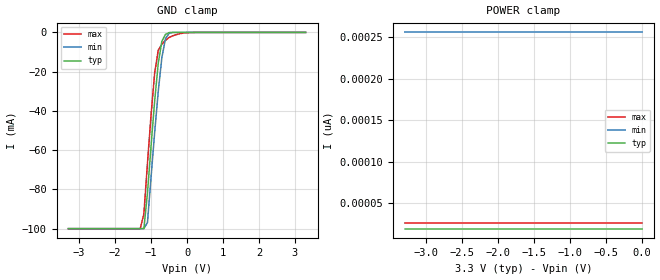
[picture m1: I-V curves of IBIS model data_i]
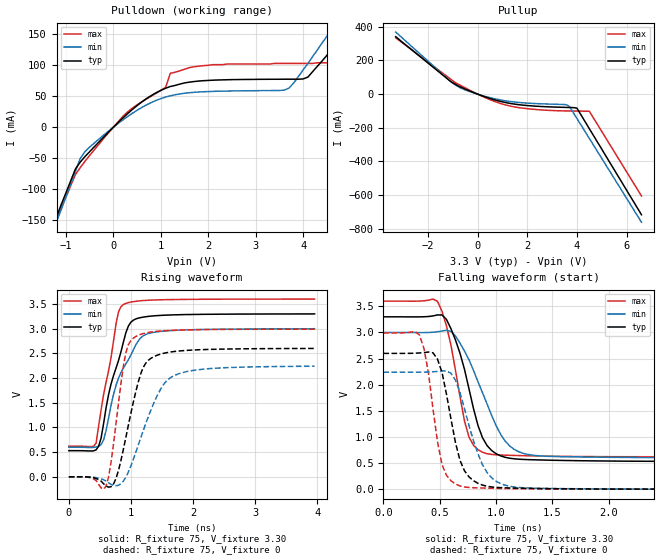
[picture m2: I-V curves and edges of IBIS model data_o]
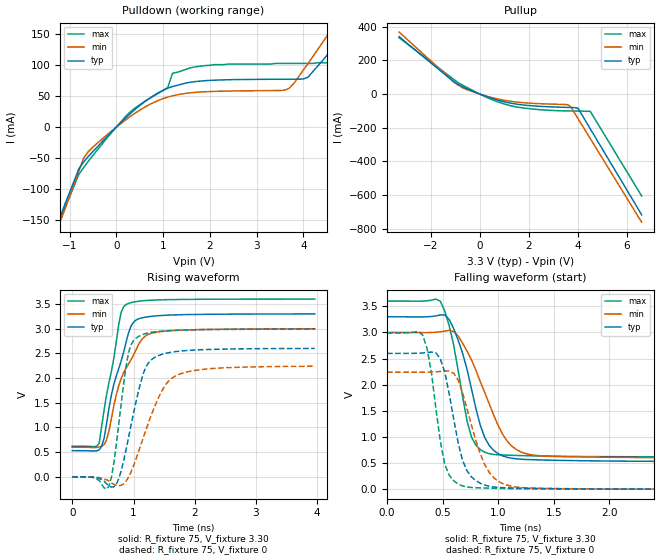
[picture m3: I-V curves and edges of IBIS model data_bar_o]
|   ON Semiconductor Corporation
|   IBIS Model of MC74LCX74m
|   Dual D Flip-Flop with Set and Reset
|   EIAJ-14 (m) Package Type
[IBIS Ver]   3.2
[Comment Char]   |_char
[File name]   mc74lcx74m_c300.ibs
[File Rev]   1.0
[Date]   05/24/04
[Source]
From lab measurements at ON Semiconductor
[Notes]
Created by Duane Mattheisen
Modeling Support Engineer
| This model represents the MC74LCX74m where 3.00 <= Vcc =< 3.60
[Disclaimer]
ON Semiconductor Corporation hereby grants
the user of this IBIS model a license to use this IBIS
model under the following terms. This license in non-exclusive
and non-transferable. Before using this IBIS model. After reading
the terms and conditions of this license, the user either must accept
these terms, or the IBIS model should be returned to ON within 30 days.
     The user is hereby granted a license to use the
IBIS model. This shall not be construed as a right to sell, or otherwise
profit either by leasing or renting this software.
     The user may modify the IBIS model to suit his specific applications
but rights to derivative works and such modifications shall belong to
ON Semiconductor.
     This IBIS model is provided on an "as is" basis. ON Semiconductor
makes absolutely no warranty with respect to the information contained
herein. By use of this IBIS model, the user assumes full risk as to the
quality and suitability of the model to his particular use, and by using
this model assumes the entire risk. Under all circumstances the user shall
not hold ON Semiconductor liable in any way for the results obtained. ON
Semiconductor reserves the right to make to improve the model for reliability,
function, or design. ON Semiconductor does not convey any license under patent
rights or any other intellectual property rights, including those of third
parties.
ON Semiconductor is not obligated to provide maintenance or support
for the licensed IBIS model.
Cont ON at ATTN:LOGIC APPLICATIONS/IBIS MODEL.
5005 E. McDowell Road, Phoenix AZ 85008
[Copyright]
(c) 2002 ON Semiconductor Corp.
[Component]   MC74LCX74m
Si_location Pin
Timing_location Pin
[Manufacturer]   ON Semiconductor Corp.
[Package]
|   Typ   Min   Max
R_pkg   0.048   0.044   0.052
L_pkg   2.35nH   1.80nH   3.30nH
C_pkg   0.45pF   0.43pF   0.47pF
[Pin] signal_name   model_name   R_pin   L_pin   C_pin
1   BarRD1   cntrl_i   .044   3.20nH   .47pF
2   D1   data_i   .049   2.12nH   .45pF
3   CP1   cntrl_i   .045   2.00nH   .46pF
4   BarSD1   cntrl_i   .045   1.90nH   .45pF
5   Q1   data_o   .045   2.00nH   .43pF
6   BarQ1   data_bar_o   .051   2.25nH   .45pF
7   GND   GND   .048   3.20nH   .47pF
8   BarQ2   data_bar_o   .049   3.30nH   .43pF
9   Q2   data_o   .051   2.20nH   .45pF
10   BarSD2   cntrl_i   .052   1.90nH   .45pF
11   CP2   cntrl_i   .048   1.80nH   .47pF
12   D2   data_i   .046   1.93nH   .46pF
13   BarRD2   cntrl_i   .047   2.25nH   .45pF
14   VCC   POWER   .050   3.18nH   .47pF
| Models and submodels in the file (4): data_i (Input), data_o (Output), cntrl_i (Input), data_bar_o (Output)
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[Model]   data_i
Model_type Input
Vinh=2.0
Vinl=0.8
| variable   typ   min   max
C_comp   7.0pf   7.0pf   7.0pf
[Temperature Range] 25   85   -40
[Voltage Range]   3.30   3.00   3.60
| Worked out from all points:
|   GND clamp passes 1 mA (typ) near -0.60 V on its own axis
[GND Clamp]
-3.3V     -100mA     -100mA     -100mA
-1.3V     -100mA     -100mA     -100mA
-1.2V     -100mA     -100mA     -92.47mA
-1.1V     -81.88mA   -96.84mA   -66.67mA
-1V       -57.81mA   -73.69mA   -42.12mA
-900mV    -34.96mA   -51.04mA   -20.74mA
-800mV    -15.7mA    -30.07mA   -9.115mA
-700mV    -4.517mA   -12.9mA    -6.003mA
-600mV    -1.043mA   -3.252mA   -4.051mA
-500mV    -107.1uA   -506.6uA   -2.593mA
0V        -40.02pA   22.16pA    -199.8uA
3.3V      -40.02pA   22.16pA    35.35pA
[POWER Clamp]
-3.3V     19.27pA    255.8pA    26pA
-3.2V     19.27pA    255.8pA    26pA
-3.1V     19.27pA    255.8pA    26pA
0V        19.27pA    255.8pA    26pA
[Model]   data_o
Model_type Output
Polarity Non-Inverting
Vref=0
Vmeas=1.50
Cref=50p
Rref=500
| variable   typ   min   max
C_comp   8.0pf   8.0pf   8.0pf
[Temperature Range] 25   85   -40
[Voltage Range]   3.30   3.00   3.60
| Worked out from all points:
|   slope of the pulldown table from 0 to 0.495 V, typ, clamps not added: 14.3 ohm
|   slope of the pullup table from 0 to 0.495 V, typ, clamps not added: 19.3 ohm
|   falling waveform, R_fixture 75, V_fixture 3.30: 20-80 % time 206ps typ, 284ps min, 158ps max; typ from 3.3 V to 0.53 V
|   falling waveform, R_fixture 75, V_fixture 0: 20-80 % time 151ps typ, 198ps min, 123ps max; typ from 2.6 V to 0 V
|   rising waveform, R_fixture 75, V_fixture 3.30: 20-80 % time 322ps typ, 398ps min, 246ps max; typ from 0.53 V to 3.3 V
|   rising waveform, R_fixture 75, V_fixture 0: 20-80 % time 284ps typ, 422ps min, 188ps max; typ from 0 V to 2.6 V
[Pullup]
-3.3V     342mA      369mA      335mA
-1.1V     76.7mA     77.1mA     90.7mA
-900mV    59mA       54.7mA     68.5mA
-600mV    36.4mA     30.7mA     45mA
500mV     -25.9mA    -20.9mA    -33.2mA
1.3V      -55.1mA    -43.8mA    -70.5mA
2.2V      -70.3mA    -55.3mA    -89.6mA
3.5V      -78.8mA    -62mA      -100mA
3.7V      -79.6mA    -73.7mA    -100mA
4V        -83.6mA    -145mA     -101mA
4.5V      -206mA     -264mA     -102mA
6.6V      -718mA     -762mA     -606mA
[Pulldown]
-3.3V     -550mA     -584mA     -530mA
-1.3V     -164mA     -174mA     -167mA
-800mV    -67.3mA    -71.1mA    -76.4mA
-600mV    -47.6mA    -39.7mA    -55.3mA
300mV     21.9mA     17.3mA     24.7mA
1.1V      62.9mA     48.6mA     64.1mA
1.2V      65.7mA     50.6mA     87mA
3.6V      77.5mA     59.8mA     103mA
4.1V      80.9mA     103mA      103mA
4.7V      133mA      168mA      113mA
5.3V      186mA      233mA      169mA
6.6V      300mA      373mA      290mA
[Ramp]
dV/dt_r  1.56/2.80E-10   1.34/4.40E-10   1.79/2.00E-10
dV/dt_f  1.66/2.00E-10   1.44/2.80E-10   1.79/1.60E-10
[Falling Waveform]
R_fixture=75
C_fixture=0p
V_fixture=3.30
V_fixture_min=3.00
V_fixture_max=3.60
|Time   Typ   Min   Max
|SECONDS   VOLTS   VOLTS   VOLTS
0s        3.3V       3V         3.6V
480ps     3.336V     3.013V     3.597V
600ps     3.071V     3.019V     2.755V
720ps     2.293V     2.644V     1.304V
760ps     1.919V     2.477V     996.9mV
880ps     983.9mV    1.845V     706.6mV
960ps     741.7mV    1.417V     665.1mV
1.08ns    610.2mV    923.5mV    650.9mV
1.28ns    566mV      665.7mV    639.4mV
3.96ns    530mV      600mV      620mV
[Falling Waveform]
R_fixture=75
C_fixture=0p
V_fixture=0
|Time   Typ   Min   Max
|SECONDS   VOLTS   VOLTS   VOLTS
0s        2.6V       2.24V      2.99V
320ps     2.608V     2.24V      2.953V
400ps     2.626V     2.244V     2.224V
480ps     2.491V     2.254V     910.6mV
520ps     2.237V     2.263V     471.8mV
600ps     1.342V     2.219V     160.8mV
680ps     550.9mV    1.848V     61.22mV
880ps     77.81mV    466.9mV    22.31mV
1.08ns    25.43mV    76.41mV    12.25mV
3.96ns    0V         0V         0V
[Rising Waveform]
R_fixture=75
C_fixture=0p
V_fixture=3.30
V_fixture_min=3.00
V_fixture_max=3.60
|Time   Typ   Min   Max
|SECONDS   VOLTS   VOLTS   VOLTS
0s        530mV      600mV      620mV
440ps     547.2mV    604.8mV    682.8mV
560ps     1.076V     747.7mV    1.662V
640ps     1.662V     1.188V     2.143V
760ps     2.198V     1.848V     3.096V
880ps     2.731V     2.205V     3.49V
1ns       3.131V     2.466V     3.539V
1.16ns    3.225V     2.816V     3.566V
1.32ns    3.254V     2.914V     3.578V
3.96ns    3.3V       3V         3.6V
[Rising Waveform]
R_fixture=75
C_fixture=0p
V_fixture=0
|Time   Typ   Min   Max
|SECONDS   VOLTS   VOLTS   VOLTS
0s        0V         0V         0V
600ps     -185.9mV   -85.37mV   -186.6mV
680ps     -201mV     -153.3mV   289.7mV
760ps     -34.08mV   -179.4mV   1.078V
920ps     803.6mV    -4.451mV   2.521V
1.08ns    1.729V     500.2mV    2.842V
1.28ns    2.358V     1.216V     2.924V
1.52ns    2.499V     1.858V     2.957V
1.72ns    2.541V     2.063V     2.969V
3.96ns    2.6V       2.24V      2.99V
[Model]   data_bar_o
Model_type Output
Polarity Inverting
Vref=0
Vmeas=1.50
Cref=50p
Rref=500
| variable   typ   min   max
C_comp   8.0pf   8.0pf   8.0pf
[Temperature Range] 25   85   -40
[Voltage Range]   3.30   3.00   3.60
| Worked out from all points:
|   slope of the pulldown table from 0 to 0.495 V, typ, clamps not added: 14.3 ohm
|   slope of the pullup table from 0 to 0.495 V, typ, clamps not added: 19.3 ohm
|   falling waveform, R_fixture 75, V_fixture 3.30: 20-80 % time 206ps typ, 284ps min, 158ps max; typ from 3.3 V to 0.53 V
|   falling waveform, R_fixture 75, V_fixture 0: 20-80 % time 151ps typ, 198ps min, 123ps max; typ from 2.6 V to 0 V
|   rising waveform, R_fixture 75, V_fixture 3.30: 20-80 % time 322ps typ, 398ps min, 246ps max; typ from 0.53 V to 3.3 V
|   rising waveform, R_fixture 75, V_fixture 0: 20-80 % time 284ps typ, 422ps min, 188ps max; typ from 0 V to 2.6 V
[Pullup]
-3.3V     342mA      369mA      335mA
-1.1V     76.7mA     77.1mA     90.7mA
-900mV    59mA       54.7mA     68.5mA
-600mV    36.4mA     30.7mA     45mA
500mV     -25.9mA    -20.9mA    -33.2mA
1.3V      -55.1mA    -43.8mA    -70.5mA
2.2V      -70.3mA    -55.3mA    -89.6mA
3.5V      -78.8mA    -62mA      -100mA
3.7V      -79.6mA    -73.7mA    -100mA
4V        -83.6mA    -145mA     -101mA
4.5V      -206mA     -264mA     -102mA
6.6V      -718mA     -762mA     -606mA
[Pulldown]
-3.3V     -550mA     -584mA     -530mA
-1.3V     -164mA     -174mA     -167mA
-800mV    -67.3mA    -71.1mA    -76.4mA
-600mV    -47.6mA    -39.7mA    -55.3mA
300mV     21.9mA     17.3mA     24.7mA
1.1V      62.9mA     48.6mA     64.1mA
1.2V      65.7mA     50.6mA     87mA
3.6V      77.5mA     59.8mA     103mA
4.1V      80.9mA     103mA      103mA
4.7V      133mA      168mA      113mA
5.3V      186mA      233mA      169mA
6.6V      300mA      373mA      290mA
[Ramp]
dV/dt_r  1.56/2.80E-10   1.34/4.40E-10   1.79/2.00E-10
dV/dt_f  1.66/2.00E-10   1.44/2.80E-10   1.79/1.60E-10
[Falling Waveform]
R_fixture=75
C_fixture=0p
V_fixture=3.30
V_fixture_min=3.00
V_fixture_max=3.60
|Time   Typ   Min   Max
|SECONDS   VOLTS   VOLTS   VOLTS
0s        3.3V       3V         3.6V
480ps     3.336V     3.013V     3.597V
600ps     3.071V     3.019V     2.755V
720ps     2.293V     2.644V     1.304V
760ps     1.919V     2.477V     996.9mV
880ps     983.9mV    1.845V     706.6mV
960ps     741.7mV    1.417V     665.1mV
1.08ns    610.2mV    923.5mV    650.9mV
1.28ns    566mV      665.7mV    639.4mV
3.96ns    530mV      600mV      620mV
[Falling Waveform]
R_fixture=75
C_fixture=0p
V_fixture=0
|Time   Typ   Min   Max
|SECONDS   VOLTS   VOLTS   VOLTS
0s        2.6V       2.24V      2.99V
320ps     2.608V     2.24V      2.953V
400ps     2.626V     2.244V     2.224V
480ps     2.491V     2.254V     910.6mV
520ps     2.237V     2.263V     471.8mV
600ps     1.342V     2.219V     160.8mV
680ps     550.9mV    1.848V     61.22mV
880ps     77.81mV    466.9mV    22.31mV
1.08ns    25.43mV    76.41mV    12.25mV
3.96ns    0V         0V         0V
[Rising Waveform]
R_fixture=75
C_fixture=0p
V_fixture=3.30
V_fixture_min=3.00
V_fixture_max=3.60
|Time   Typ   Min   Max
|SECONDS   VOLTS   VOLTS   VOLTS
0s        530mV      600mV      620mV
440ps     547.2mV    604.8mV    682.8mV
560ps     1.076V     747.7mV    1.662V
640ps     1.662V     1.188V     2.143V
760ps     2.198V     1.848V     3.096V
880ps     2.731V     2.205V     3.49V
1ns       3.131V     2.466V     3.539V
1.16ns    3.225V     2.816V     3.566V
1.32ns    3.254V     2.914V     3.578V
3.96ns    3.3V       3V         3.6V
[Rising Waveform]
R_fixture=75
C_fixture=0p
V_fixture=0
|Time   Typ   Min   Max
|SECONDS   VOLTS   VOLTS   VOLTS
0s        0V         0V         0V
600ps     -185.9mV   -85.37mV   -186.6mV
680ps     -201mV     -153.3mV   289.7mV
760ps     -34.08mV   -179.4mV   1.078V
920ps     803.6mV    -4.451mV   2.521V
1.08ns    1.729V     500.2mV    2.842V
1.28ns    2.358V     1.216V     2.924V
1.52ns    2.499V     1.858V     2.957V
1.72ns    2.541V     2.063V     2.969V
3.96ns    2.6V       2.24V      2.99V
